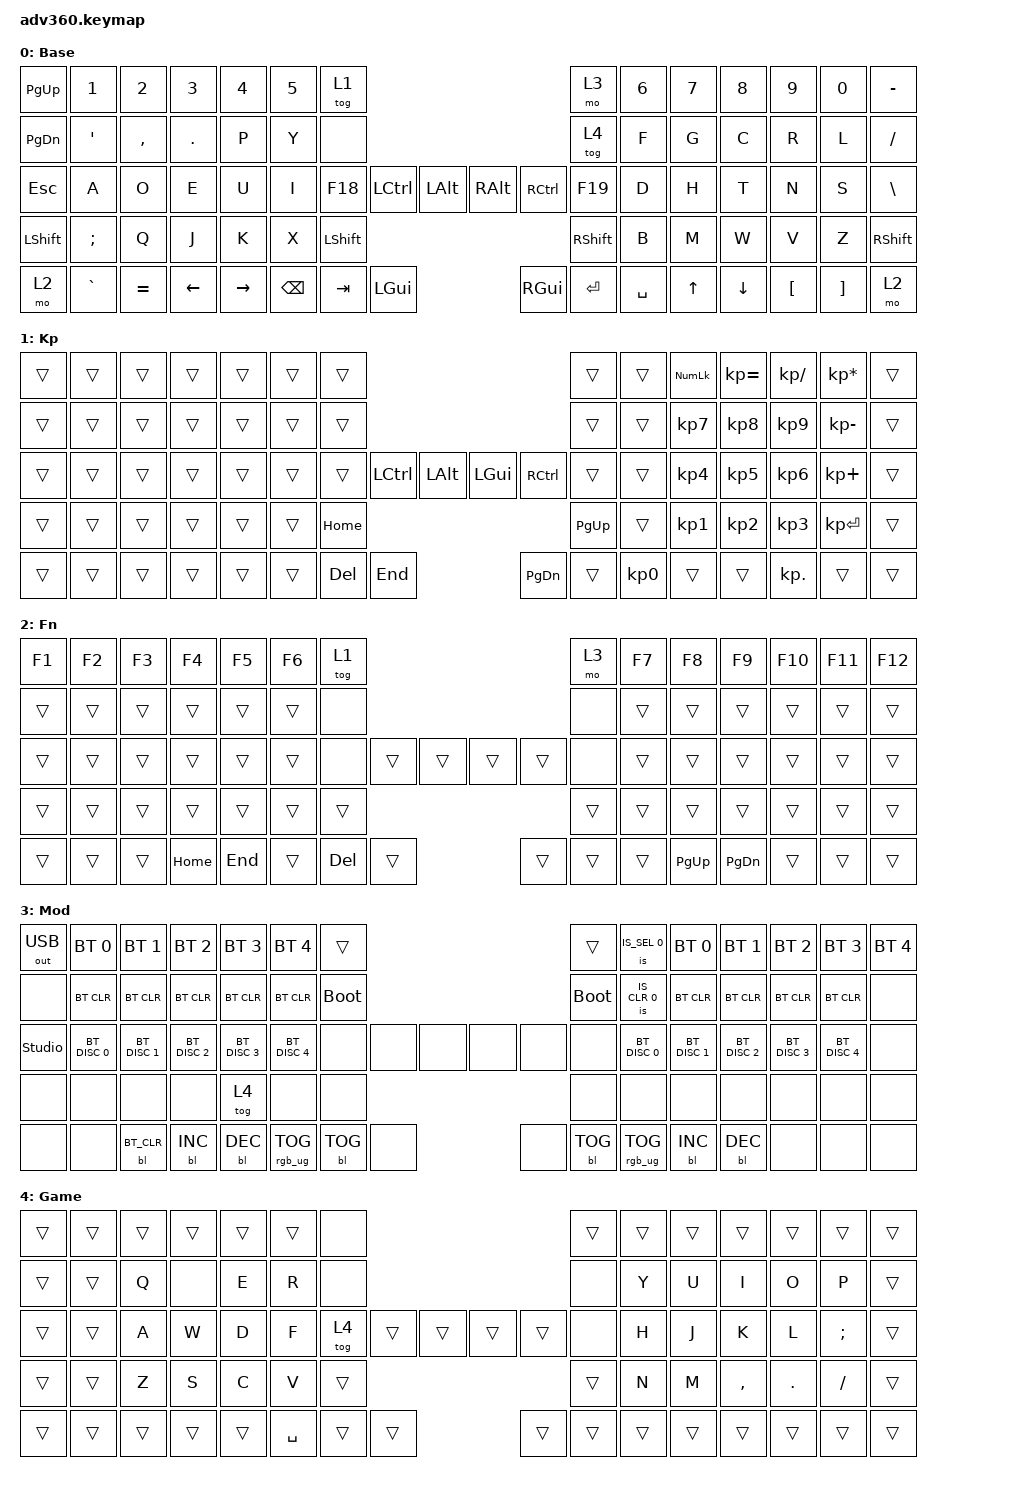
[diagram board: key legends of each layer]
#include <behaviors.dtsi>
#include <dt-bindings/zmk/keys.h>
#include <dt-bindings/zmk/bt.h>
#include <dt-bindings/zmk/rgb.h>
#include <dt-bindings/zmk/backlight.h>
#include <dt-bindings/zmk/mouse.h>
#include <dt-bindings/zmk/outputs.h>
#include <dt-bindings/zmk/inputstick.h>

/ {
    behaviors {
      #include "macros.dtsi"
      #include "version.dtsi"

      hm: homerow_mods {
          compatible = "zmk,behavior-hold-tap";
          label = "HOMEROW_MODS";
          #binding-cells = <2>;
          tapping-term-ms = <200>;
          quick_tap_ms = <175>;
          flavor = "tap-preferred";
          bindings = <&kp>, <&kp>;
      };
    };

  keymap {
    compatible = "zmk,keymap";

    default_layer {
      display-name = "Base";
      bindings = <
        &kp PG_UP &kp N1    &kp N2   &kp N3   &kp N4     &kp N5 &tog 1                                                           &mo 3 &kp N6 &kp N7 &kp N8    &kp N9   &kp N0   &kp MINUS
        &kp PG_DN &kp SINGLE_QUOTE &kp COMMA &kp PERIOD &kp P &kp Y &none                                                        &tog 4 &kp F &kp G  &kp C     &kp R    &kp L    &kp SLASH
        &kp ESC   &kp A     &kp O    &kp E    &kp U      &kp I  &kp F18     &kp LCTRL &kp LEFT_ALT &kp RIGHT_ALT &kp RCTRL       &kp F19 &kp D &kp H &kp T     &kp N    &kp S    &kp BACKSLASH
        &kp LEFT_SHIFT &kp SEMICOLON &kp Q &kp J &kp K   &kp X                      &kp LEFT_SHIFT &kp RIGHT_SHIFT                       &kp B &kp M &kp W     &kp V    &kp Z    &kp RIGHT_SHIFT
        &mo 2    &kp GRAVE &kp EQUAL &kp LEFT &kp RIGHT              &kp BSPC &kp TAB &kp LEFT_GUI &kp RIGHT_GUI &kp ENTER &kp SPACE          &kp UP &kp DOWN  &kp LBKT &kp RBKT &mo 2
      >;
    };
    keypad {
      display-name = "Kp";
      bindings = <
        &trans    &trans    &trans   &trans   &trans     &trans &trans                                                          &trans &trans &kp KP_NUM &kp KP_EQUAL &kp KP_DIVIDE &kp KP_MULTIPLY &trans
        &trans    &trans    &trans   &trans   &trans     &trans &trans                                                          &trans &trans &kp KP_N7  &kp KP_N8    &kp KP_N9     &kp KP_MINUS    &trans
        &trans    &trans    &trans   &trans   &trans     &trans &trans          &kp LCTRL &kp LALT &kp LGUI  &kp RCTRL          &trans &trans &kp KP_N4  &kp KP_N5    &kp KP_N6     &kp KP_PLUS     &trans
        &trans    &trans    &trans   &trans   &trans     &trans                           &kp HOME &kp PG_UP                          &trans  &kp KP_N1  &kp KP_N2    &kp KP_N3     &kp KP_ENTER    &trans
        &trans    &trans    &trans   &trans   &trans                   &trans   &kp DEL   &kp END  &kp PG_DN &trans &kp KP_N0                 &trans     &trans       &kp KP_DOT    &trans          &trans
      >;
    };
    fn {
      display-name = "Fn";
      bindings = <
        &kp F1 &kp F2 &kp F3 &kp F4 &kp F5 &kp F6 &tog 1                                           &mo 3 &kp F7 &kp F8 &kp F9 &kp F10 &kp F11 &kp F12
        &trans &trans &trans &trans &trans &trans  &none                                           &none &trans &trans &trans &trans  &trans  &trans
        &trans &trans &trans &trans &trans &trans  &none        &trans &trans &trans &trans        &none &trans &trans &trans &trans  &trans  &trans
        &trans &trans &trans &trans &trans &trans                      &trans &trans                     &trans &trans &trans &trans  &trans  &trans
        &trans &trans &trans &kp HOME &kp END        &trans &kp DELETE &trans &trans &trans &trans  &kp PAGE_UP &kp PAGE_DOWN &trans  &trans  &trans
      >;
    };
    mod {
      display-name = "Mod";
      bindings = <
        &out OUT_USB &bt BT_SEL 0 &bt BT_SEL 1 &bt BT_SEL 2 &bt BT_SEL 3 &bt BT_SEL 4 &trans                                                                    &trans   &is IS_SEL 0 &bt BT_SEL 0 &bt BT_SEL 1 &bt BT_SEL 2 &bt BT_SEL 3 &bt BT_SEL 4
        &none &bt BT_CLR   &bt BT_CLR   &bt BT_CLR   &bt BT_CLR   &bt BT_CLR   &bootloader                                                               &bootloader            &is IS_CLR 0   &bt BT_CLR   &bt BT_CLR   &bt BT_CLR &bt BT_CLR &none
        &studio_unlock &bt BT_DISC 0 &bt BT_DISC 1 &bt BT_DISC 2 &bt BT_DISC 3 &bt BT_DISC 4 &none                   &none &none &none &none                           &none                  &bt BT_DISC 0 &bt BT_DISC 1 &bt BT_DISC 2 &bt BT_DISC 3 &bt BT_DISC 4 &none
        &none &none        &none        &none        &tog 4       &none                                      &none &none                                                        &none        &none        &none        &none &none &none
        &none &none        &bl BT_CLR   &bl BL_INC   &bl BL_DEC              &rgb_ug RGB_TOG &bl BL_TOG      &none &none      &bl BL_TOG &rgb_ug RGB_TOG                                     &bl BL_INC   &bl BL_DEC   &none &none &none
      >;
    };
    game_layer {
      display-name = "Game";
      bindings = <
        &trans &trans &trans &trans &trans &trans &none                                                          &trans &trans &trans &trans &trans &trans &trans
        &trans &trans &kp Q  &none  &kp E  &kp R  &none                                                          &none  &kp Y  &kp U  &kp I  &kp O  &kp P  &trans
        &trans &trans &kp A  &kp W  &kp D  &kp F  &tog 4          &trans &trans &trans &trans                    &none  &kp H  &kp J  &kp K  &kp L  &kp SEMI &trans
        &trans &trans &kp Z  &kp S  &kp C  &kp V                         &trans &trans                                  &kp N  &kp M  &kp COMMA &kp DOT &kp FSLH &trans
        &trans &trans &trans &trans &trans                &kp SPACE &trans &trans &trans &trans &trans                         &trans &trans &trans &trans &trans
      >;
    };

    extra1 {
      display-name = "Red";
      status = "reserved";
    };

    extra2 {
      display-name = "Purple";
      status = "reserved";
    };

    extra3 {
      display-name = "Cyan";
      status = "reserved";
    };

    extra4 {
      display-name = "Yellow";
      status = "reserved";
    };

  };
};
